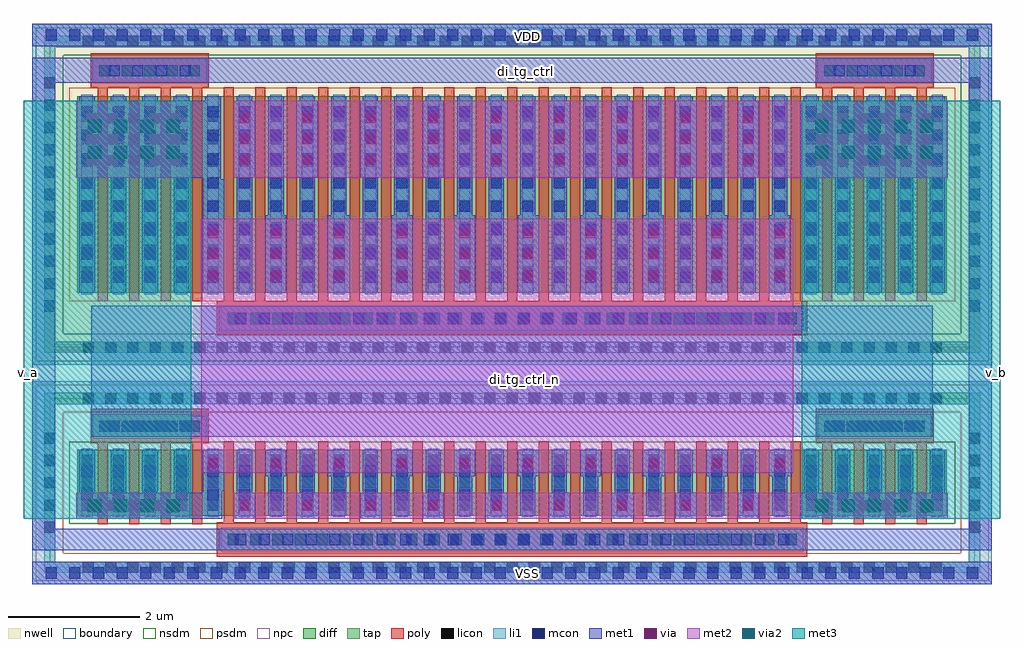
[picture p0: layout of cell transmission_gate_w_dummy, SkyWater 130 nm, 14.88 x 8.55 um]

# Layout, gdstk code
import gdstk
lib = gdstk.Library(unit=1e-6, precision=1e-09)
def R(c, l, rs):  # rectangles x0, y0, x1, y1
    for r in rs: c.add(gdstk.rectangle(r[:2], r[2:], *l))
def A(c, l, x, y, w, h, nx, ny, dx, dy):  # array of equal rectangles
    R(c, l, [(x+i*dx, y+j*dy, x+i*dx+w, y+j*dy+h) for i in range(nx) for j in range(ny)])
nwell = (64, 20)
diff = (65, 20)
tap = (65, 44)
poly = (66, 20)
licon = (66, 44)
li1 = (67, 20)
mcon = (67, 44)
met1 = (68, 20)
via = (68, 44)
met2 = (69, 20)
via2 = (69, 44)
met3 = (70, 20)
nsdm = (93, 44)
psdm = (94, 20)
npc = (95, 20)
boundary = (235, 4)

sky130_fd_pr__pfet_01v8_ = lib.new_cell('sky130_fd_pr__pfet_01v8_3HM6GL')
R(sky130_fd_pr__pfet_01v8_, nwell, [(-7.315,-2.595,7.315,2.595)])
R(sky130_fd_pr__pfet_01v8_, diff, [(-6.625,-1.5,6.625,1.5)])
R(sky130_fd_pr__pfet_01v8_, tap, [(-7.135,-2.415,7.135,-2.245), (-7.135,-2.245,-6.965,2.245), (6.965,-2.245,7.135,2.245), (-7.135,2.245,7.135,2.415)])
A(sky130_fd_pr__pfet_01v8_, poly, -6.315, -1.63, 0.15, 3.255, 4, 1, 0.48, 0)
A(sky130_fd_pr__pfet_01v8_, poly, 4.725, -1.63, 0.15, 3.255, 4, 1, 0.48, 0)
A(sky130_fd_pr__pfet_01v8_, poly, -4.395, -1.625, 0.15, 3.255, 19, 1, 0.48, 0)
R(sky130_fd_pr__pfet_01v8_, poly, [(-4.5,-2.15,4.5,-1.625), (-6.425,1.625,-4.625,2.15), (4.625,1.625,6.425,2.15)])
A(sky130_fd_pr__pfet_01v8_, licon, -6.545, -2.415, 0.17, 0.17, 39, 2, 0.34, 4.66)
A(sky130_fd_pr__pfet_01v8_, licon, -4.335, -1.975, 0.17, 0.17, 26, 1, 0.34, 0)
A(sky130_fd_pr__pfet_01v8_, licon, -7.135, -1.785, 0.17, 0.17, 1, 11, 0, 0.34)
A(sky130_fd_pr__pfet_01v8_, licon, 6.965, -1.785, 0.17, 0.17, 1, 11, 0, 0.34)
A(sky130_fd_pr__pfet_01v8_, licon, -6.565, -1.275, 0.17, 0.17, 28, 8, 0.48, 0.34)
A(sky130_fd_pr__pfet_01v8_, licon, -6.29, 1.8, 0.17, 0.17, 5, 1, 0.34, 0)
A(sky130_fd_pr__pfet_01v8_, licon, 4.76, 1.8, 0.17, 0.17, 5, 1, 0.34, 0)
A(sky130_fd_pr__pfet_01v8_, li1, -6.565, -1.52, 0.17, 3.04, 28, 1, 0.48, 0)
R(sky130_fd_pr__pfet_01v8_, li1, [(-7.135,-2.415,7.135,-2.245), (-7.135,-2.245,-6.965,2.245), (6.965,-2.245,7.135,2.245), (-4.475,-2.075,4.475,-1.7), (-6.4,1.7,-4.65,2.075), (4.65,1.7,6.4,2.075), (-7.135,2.245,7.135,2.415)])
A(sky130_fd_pr__pfet_01v8_, mcon, -4.225, -1.975, 0.17, 0.17, 24, 1, 0.36, 0)
A(sky130_fd_pr__pfet_01v8_, mcon, -6.565, -1.345, 0.17, 0.17, 28, 8, 0.48, 0.36)
A(sky130_fd_pr__pfet_01v8_, mcon, -6.15, 1.8, 0.17, 0.17, 4, 1, 0.36, 0)
A(sky130_fd_pr__pfet_01v8_, mcon, 4.9, 1.8, 0.17, 0.17, 4, 1, 0.36, 0)
A(sky130_fd_pr__pfet_01v8_, met1, -6.595, -1.5, 0.23, 3, 28, 1, 0.48, 0)
R(sky130_fd_pr__pfet_01v8_, met1, [(-4.475,-2.075,4.475,-1.7), (-6.4,1.7,-4.65,2.075), (4.65,1.7,6.4,2.075)])
R(sky130_fd_pr__pfet_01v8_, nsdm, [(-7.26,-2.54,7.26,-2.12), (-7.26,-2.12,-6.84,2.12), (6.84,-2.12,7.26,2.12), (-7.26,2.12,7.26,2.54)])
R(sky130_fd_pr__pfet_01v8_, psdm, [(-6.75,-1.625,6.75,1.625)])
R(sky130_fd_pr__pfet_01v8_, npc, [(-4.435,-2.075,4.435,-1.705), (-6.39,1.7,-4.66,2.07), (4.66,1.7,6.39,2.07)])
R(sky130_fd_pr__pfet_01v8_, boundary, [(-7.05,-2.33,7.05,2.33)])
sky130_fd_pr__pfet_01v8_.add(gdstk.Label('B', (0,-2.33), layer=67, texttype=5))
sky130_fd_pr__pfet_01v8_.add(gdstk.Label('D0', (-6.48,0), layer=67, texttype=5))
sky130_fd_pr__pfet_01v8_.add(gdstk.Label('S1', (-6,0), layer=67, texttype=5))
sky130_fd_pr__pfet_01v8_.add(gdstk.Label('D2', (-5.52,0), layer=67, texttype=5))
sky130_fd_pr__pfet_01v8_.add(gdstk.Label('S3', (-5.04,0), layer=67, texttype=5))
sky130_fd_pr__pfet_01v8_.add(gdstk.Label('D4', (-4.56,0), layer=67, texttype=5))
sky130_fd_pr__pfet_01v8_.add(gdstk.Label('G4', (-4.32,-1.82), layer=67, texttype=5))
sky130_fd_pr__pfet_01v8_.add(gdstk.Label('S5', (-4.08,0), layer=67, texttype=5))
sky130_fd_pr__pfet_01v8_.add(gdstk.Label('D6', (-3.6,0), layer=67, texttype=5))
sky130_fd_pr__pfet_01v8_.add(gdstk.Label('G6', (-3.36,-1.82), layer=67, texttype=5))
sky130_fd_pr__pfet_01v8_.add(gdstk.Label('S7', (-3.12,0), layer=67, texttype=5))
sky130_fd_pr__pfet_01v8_.add(gdstk.Label('D8', (-2.64,0), layer=67, texttype=5))
sky130_fd_pr__pfet_01v8_.add(gdstk.Label('G8', (-2.4,-1.82), layer=67, texttype=5))
sky130_fd_pr__pfet_01v8_.add(gdstk.Label('S9', (-2.16,0), layer=67, texttype=5))
sky130_fd_pr__pfet_01v8_.add(gdstk.Label('D10', (-1.68,0), layer=67, texttype=5))
sky130_fd_pr__pfet_01v8_.add(gdstk.Label('G10', (-1.44,-1.82), layer=67, texttype=5))
sky130_fd_pr__pfet_01v8_.add(gdstk.Label('S11', (-1.2,0), layer=67, texttype=5))
sky130_fd_pr__pfet_01v8_.add(gdstk.Label('D12', (-0.72,0), layer=67, texttype=5))
sky130_fd_pr__pfet_01v8_.add(gdstk.Label('G12', (-0.48,-1.82), layer=67, texttype=5))
sky130_fd_pr__pfet_01v8_.add(gdstk.Label('S13', (-0.24,0), layer=67, texttype=5))
sky130_fd_pr__pfet_01v8_.add(gdstk.Label('D14', (0.24,0), layer=67, texttype=5))
sky130_fd_pr__pfet_01v8_.add(gdstk.Label('G14', (0.48,-1.82), layer=67, texttype=5))
sky130_fd_pr__pfet_01v8_.add(gdstk.Label('S15', (0.72,0), layer=67, texttype=5))
sky130_fd_pr__pfet_01v8_.add(gdstk.Label('D16', (1.2,0), layer=67, texttype=5))
sky130_fd_pr__pfet_01v8_.add(gdstk.Label('G16', (1.44,-1.82), layer=67, texttype=5))
sky130_fd_pr__pfet_01v8_.add(gdstk.Label('S17', (1.68,0), layer=67, texttype=5))
sky130_fd_pr__pfet_01v8_.add(gdstk.Label('D18', (2.16,0), layer=67, texttype=5))
sky130_fd_pr__pfet_01v8_.add(gdstk.Label('G18', (2.4,-1.82), layer=67, texttype=5))
sky130_fd_pr__pfet_01v8_.add(gdstk.Label('S19', (2.64,0), layer=67, texttype=5))
sky130_fd_pr__pfet_01v8_.add(gdstk.Label('D20', (3.12,0), layer=67, texttype=5))
sky130_fd_pr__pfet_01v8_.add(gdstk.Label('G20', (3.36,-1.82), layer=67, texttype=5))
sky130_fd_pr__pfet_01v8_.add(gdstk.Label('S21', (3.6,0), layer=67, texttype=5))
sky130_fd_pr__pfet_01v8_.add(gdstk.Label('D22', (4.08,0), layer=67, texttype=5))
sky130_fd_pr__pfet_01v8_.add(gdstk.Label('G22', (4.32,-1.82), layer=67, texttype=5))
sky130_fd_pr__pfet_01v8_.add(gdstk.Label('S23', (4.56,0), layer=67, texttype=5))
sky130_fd_pr__pfet_01v8_.add(gdstk.Label('G23', (4.8,1.82), layer=67, texttype=5))
sky130_fd_pr__pfet_01v8_.add(gdstk.Label('D24', (5.04,0), layer=67, texttype=5))
sky130_fd_pr__pfet_01v8_.add(gdstk.Label('S25', (5.52,0), layer=67, texttype=5))
sky130_fd_pr__pfet_01v8_.add(gdstk.Label('G25', (5.76,1.82), layer=67, texttype=5))
sky130_fd_pr__pfet_01v8_.add(gdstk.Label('D26', (6,0), layer=67, texttype=5))
sky130_fd_pr__pfet_01v8_.add(gdstk.Label('S26', (6.48,0), layer=67, texttype=5))

sky130_fd_pr__nfet_01v8_ = lib.new_cell('sky130_fd_pr__nfet_01v8_98DYX6')
R(sky130_fd_pr__nfet_01v8_, diff, [(-6.625,-0.5,6.625,0.5)])
R(sky130_fd_pr__nfet_01v8_, tap, [(-7.135,-1.37,7.135,-1.2), (-7.135,-1.2,-6.965,1.2), (6.965,-1.2,7.135,1.2), (-7.135,1.2,7.135,1.37)])
A(sky130_fd_pr__nfet_01v8_, poly, -6.315, -0.63, 0.15, 1.23, 4, 1, 0.48, 0)
A(sky130_fd_pr__nfet_01v8_, poly, 4.725, -0.63, 0.15, 1.23, 4, 1, 0.48, 0)
A(sky130_fd_pr__nfet_01v8_, poly, -4.395, -0.6, 0.15, 1.23, 19, 1, 0.48, 0)
R(sky130_fd_pr__nfet_01v8_, poly, [(-4.5,-1.125,4.5,-0.6), (-6.425,0.6,-4.625,1.125), (4.625,0.6,6.425,1.125)])
A(sky130_fd_pr__nfet_01v8_, licon, -6.545, -1.37, 0.17, 0.17, 39, 2, 0.34, 2.57)
A(sky130_fd_pr__nfet_01v8_, licon, -4.335, -0.95, 0.17, 0.17, 26, 1, 0.34, 0)
A(sky130_fd_pr__nfet_01v8_, licon, -7.135, -0.765, 0.17, 0.17, 1, 5, 0, 0.34)
A(sky130_fd_pr__nfet_01v8_, licon, 6.965, -0.765, 0.17, 0.17, 1, 5, 0, 0.34)
A(sky130_fd_pr__nfet_01v8_, licon, -6.565, -0.425, 0.17, 0.17, 28, 3, 0.48, 0.34)
A(sky130_fd_pr__nfet_01v8_, licon, -6.29, 0.775, 0.17, 0.17, 5, 1, 0.34, 0)
A(sky130_fd_pr__nfet_01v8_, licon, 4.76, 0.775, 0.17, 0.17, 5, 1, 0.34, 0)
A(sky130_fd_pr__nfet_01v8_, li1, -6.565, -0.52, 0.17, 1.04, 28, 1, 0.48, 0)
R(sky130_fd_pr__nfet_01v8_, li1, [(-7.135,-1.37,7.135,-1.2), (-7.135,-1.2,-6.965,1.2), (6.965,-1.2,7.135,1.2), (-4.475,-1.025,4.475,-0.7), (-6.4,0.7,-4.65,1.025), (4.65,0.7,6.4,1.025), (-7.135,1.2,7.135,1.37)])
A(sky130_fd_pr__nfet_01v8_, mcon, -4.225, -0.95, 0.17, 0.17, 24, 1, 0.36, 0)
A(sky130_fd_pr__nfet_01v8_, mcon, -6.565, -0.265, 0.17, 0.17, 28, 2, 0.48, 0.36)
A(sky130_fd_pr__nfet_01v8_, mcon, -6.15, 0.775, 0.17, 0.17, 4, 1, 0.36, 0)
A(sky130_fd_pr__nfet_01v8_, mcon, 4.9, 0.775, 0.17, 0.17, 4, 1, 0.36, 0)
A(sky130_fd_pr__nfet_01v8_, met1, -6.595, -0.5, 0.23, 1, 28, 1, 0.48, 0)
R(sky130_fd_pr__nfet_01v8_, met1, [(-4.475,-1.025,4.475,-0.7), (-6.4,0.7,-4.65,1.025), (4.65,0.7,6.4,1.025)])
R(sky130_fd_pr__nfet_01v8_, nsdm, [(-6.75,-0.625,6.75,0.625)])
R(sky130_fd_pr__nfet_01v8_, psdm, [(-7.26,-1.495,7.26,-1.075), (-7.26,-1.075,-6.84,1.075), (6.84,-1.075,7.26,1.075), (-7.26,1.075,7.26,1.495)])
R(sky130_fd_pr__nfet_01v8_, npc, [(-4.435,-1.05,4.435,-0.68), (-6.39,0.675,-4.66,1.045), (4.66,0.675,6.39,1.045)])
R(sky130_fd_pr__nfet_01v8_, boundary, [(-7.05,-1.285,7.05,1.285)])
sky130_fd_pr__nfet_01v8_.add(gdstk.Label('B', (0,-1.285), layer=67, texttype=5))
sky130_fd_pr__nfet_01v8_.add(gdstk.Label('D0', (-6.48,0), layer=67, texttype=5))
sky130_fd_pr__nfet_01v8_.add(gdstk.Label('S1', (-6,0), layer=67, texttype=5))
sky130_fd_pr__nfet_01v8_.add(gdstk.Label('G1', (-5.76,0.775), layer=66, texttype=5))
sky130_fd_pr__nfet_01v8_.add(gdstk.Label('D2', (-5.52,0), layer=67, texttype=5))
sky130_fd_pr__nfet_01v8_.add(gdstk.Label('S3', (-5.04,0), layer=67, texttype=5))
sky130_fd_pr__nfet_01v8_.add(gdstk.Label('G3', (-4.8,0.775), layer=66, texttype=5))
sky130_fd_pr__nfet_01v8_.add(gdstk.Label('D4', (-4.56,0), layer=67, texttype=5))
sky130_fd_pr__nfet_01v8_.add(gdstk.Label('G4', (-4.32,-0.775), layer=66, texttype=5))
sky130_fd_pr__nfet_01v8_.add(gdstk.Label('S5', (-4.08,0), layer=67, texttype=5))
sky130_fd_pr__nfet_01v8_.add(gdstk.Label('D6', (-3.6,0), layer=67, texttype=5))
sky130_fd_pr__nfet_01v8_.add(gdstk.Label('G6', (-3.36,-0.775), layer=66, texttype=5))
sky130_fd_pr__nfet_01v8_.add(gdstk.Label('S7', (-3.12,0), layer=67, texttype=5))
sky130_fd_pr__nfet_01v8_.add(gdstk.Label('D8', (-2.64,0), layer=67, texttype=5))
sky130_fd_pr__nfet_01v8_.add(gdstk.Label('G8', (-2.4,-0.775), layer=66, texttype=5))
sky130_fd_pr__nfet_01v8_.add(gdstk.Label('S9', (-2.16,0), layer=67, texttype=5))
sky130_fd_pr__nfet_01v8_.add(gdstk.Label('D10', (-1.68,0), layer=67, texttype=5))
sky130_fd_pr__nfet_01v8_.add(gdstk.Label('G10', (-1.44,-0.775), layer=66, texttype=5))
sky130_fd_pr__nfet_01v8_.add(gdstk.Label('S11', (-1.2,0), layer=67, texttype=5))
sky130_fd_pr__nfet_01v8_.add(gdstk.Label('D12', (-0.72,0), layer=67, texttype=5))
sky130_fd_pr__nfet_01v8_.add(gdstk.Label('G12', (-0.48,-0.775), layer=66, texttype=5))
sky130_fd_pr__nfet_01v8_.add(gdstk.Label('S13', (-0.24,0), layer=67, texttype=5))
sky130_fd_pr__nfet_01v8_.add(gdstk.Label('D14', (0.24,0), layer=67, texttype=5))
sky130_fd_pr__nfet_01v8_.add(gdstk.Label('G14', (0.48,-0.775), layer=66, texttype=5))
sky130_fd_pr__nfet_01v8_.add(gdstk.Label('S15', (0.72,0), layer=67, texttype=5))
sky130_fd_pr__nfet_01v8_.add(gdstk.Label('D16', (1.2,0), layer=67, texttype=5))
sky130_fd_pr__nfet_01v8_.add(gdstk.Label('G16', (1.44,-0.775), layer=66, texttype=5))
sky130_fd_pr__nfet_01v8_.add(gdstk.Label('S17', (1.68,0), layer=67, texttype=5))
sky130_fd_pr__nfet_01v8_.add(gdstk.Label('D18', (2.16,0), layer=67, texttype=5))
sky130_fd_pr__nfet_01v8_.add(gdstk.Label('G18', (2.4,-0.775), layer=66, texttype=5))
sky130_fd_pr__nfet_01v8_.add(gdstk.Label('S19', (2.64,0), layer=67, texttype=5))
sky130_fd_pr__nfet_01v8_.add(gdstk.Label('D20', (3.12,0), layer=67, texttype=5))
sky130_fd_pr__nfet_01v8_.add(gdstk.Label('G20', (3.36,-0.775), layer=66, texttype=5))
sky130_fd_pr__nfet_01v8_.add(gdstk.Label('S21', (3.6,0), layer=67, texttype=5))
sky130_fd_pr__nfet_01v8_.add(gdstk.Label('D22', (4.08,0), layer=67, texttype=5))
sky130_fd_pr__nfet_01v8_.add(gdstk.Label('G22', (4.32,-0.775), layer=66, texttype=5))
sky130_fd_pr__nfet_01v8_.add(gdstk.Label('S23', (4.56,0), layer=67, texttype=5))
sky130_fd_pr__nfet_01v8_.add(gdstk.Label('G23', (4.8,0.775), layer=66, texttype=5))
sky130_fd_pr__nfet_01v8_.add(gdstk.Label('D24', (5.04,0), layer=67, texttype=5))
sky130_fd_pr__nfet_01v8_.add(gdstk.Label('S25', (5.52,0), layer=67, texttype=5))
sky130_fd_pr__nfet_01v8_.add(gdstk.Label('G25', (5.76,0.775), layer=66, texttype=5))
sky130_fd_pr__nfet_01v8_.add(gdstk.Label('D26', (6,0), layer=67, texttype=5))
sky130_fd_pr__nfet_01v8_.add(gdstk.Label('S26', (6.48,0), layer=67, texttype=5))

transmission_gate_w_dumm = lib.new_cell('transmission_gate_w_dummy')
R(transmission_gate_w_dumm, li1, [(-0.075,-3.6,14.55,-3.25), (-0.075,-3.25,0.275,-0.85), (14.2,-3.25,14.55,-0.85), (-0.075,-0.85,14.55,-0.5), (-0.075,-0.25,14.55,0.1), (-0.075,0.1,0.275,4.675), (14.2,0.1,14.55,4.675), (-0.075,4.675,14.55,4.95)])
A(transmission_gate_w_dumm, mcon, 0.13, -3.51, 0.17, 0.17, 40, 2, 0.36, 8.2)
A(transmission_gate_w_dumm, met1, 5.875, -2.6, 0.325, 0.4, 3, 1, 1.925, 0)
A(transmission_gate_w_dumm, met1, 7.325, 0.85, 0.325, 1.175, 3, 1, 0.95, 0)
R(transmission_gate_w_dumm, met1, [(-0.075,-3.6,14.55,-3.25), (-0.075,-3.075,2.8,-2.75), (11.7,-3.075,14.55,-2.75), (-0.075,-2.75,0.275,4.05), (14.2,-2.75,14.55,4.05), (0.6,-2.6,2.825,-2.2), (3,-2.6,3.325,-2.2), (3.95,-2.6,4.3,-2.2), (4.925,-2.6,5.25,-2.2), (6.825,-2.6,7.175,-2.2), (8.75,-2.6,9.1,-2.2), (10.675,-2.6,11,-2.2), (11.625,-2.6,13.875,-2.2), (2.525,-2.2,2.825,-2.175), (2.525,-2.175,2.85,-1.55), (3.475,-1.95,3.8,-1.55), (4.425,-1.95,4.775,-1.55), (5.4,-1.95,5.725,-1.55), (6.35,-1.95,6.675,-1.55), (7.325,-1.95,7.65,-1.55), (8.275,-1.95,8.6,-1.55), (9.225,-1.95,9.575,-1.55), (10.2,-1.95,10.525,-1.55), (11.15,-1.95,11.5,-1.55), (0.825,-1.35,13.65,0.65), (2.525,0.85,2.85,2.025), (3.475,0.85,3.8,2.025), (4.425,0.85,4.775,2.025), (5.4,0.85,5.725,2.025), (6.35,0.85,6.675,2.025), (10.2,0.85,10.525,2.025), (11.15,0.85,11.475,2.025), (2.525,2.025,2.575,2.6), (2.775,2.025,2.85,2.575), (2.775,2.575,2.8,2.6), (0.6,2.6,2.8,3.775), (3,2.6,3.325,3.775), (3.95,2.6,4.275,3.775), (4.925,2.6,5.25,3.775), (5.875,2.6,6.2,3.775), (6.825,2.6,7.175,3.775), (7.8,2.6,8.125,3.775), (8.75,2.6,9.075,3.775), (9.725,2.6,10.05,3.775), (10.675,2.6,11,3.775), (11.625,2.6,13.875,3.775), (-0.075,4.05,14.55,4.425), (-0.075,4.6,14.55,4.95)])
A(transmission_gate_w_dumm, via, 0.76, -2.475, 0.15, 0.15, 5, 2, 0.32, 5.265)
A(transmission_gate_w_dumm, via, 6.935, -2.475, 0.15, 0.15, 3, 1, 0.95, 0)
A(transmission_gate_w_dumm, via, 11.885, -2.475, 0.15, 0.15, 6, 1, 0.32, 0)
A(transmission_gate_w_dumm, via, 2.61, 1.04, 0.15, 0.15, 1, 3, 0, 0.32)
A(transmission_gate_w_dumm, via, 3.56, 1.04, 0.15, 0.15, 1, 3, 0, 0.32)
A(transmission_gate_w_dumm, via, 4.525, 1.04, 0.15, 0.15, 1, 3, 0, 0.32)
A(transmission_gate_w_dumm, via, 5.485, 1.04, 0.15, 0.15, 1, 3, 0, 0.32)
A(transmission_gate_w_dumm, via, 6.435, 1.04, 0.15, 0.15, 1, 3, 0, 0.32)
A(transmission_gate_w_dumm, via, 7.41, 1.04, 0.15, 0.15, 3, 3, 0.95, 0.32)
A(transmission_gate_w_dumm, via, 10.285, 1.04, 0.15, 0.15, 1, 3, 0, 0.32)
A(transmission_gate_w_dumm, via, 11.25, 1.04, 0.15, 0.15, 1, 3, 0, 0.32)
A(transmission_gate_w_dumm, via, 3.085, 2.79, 0.15, 0.15, 1, 3, 0, 0.32)
A(transmission_gate_w_dumm, via, 4.035, 2.79, 0.15, 0.15, 1, 3, 0, 0.32)
A(transmission_gate_w_dumm, via, 5.01, 2.79, 0.15, 0.15, 1, 3, 0, 0.32)
A(transmission_gate_w_dumm, via, 5.96, 2.79, 0.15, 0.15, 1, 3, 0, 0.32)
A(transmission_gate_w_dumm, via, 6.925, 2.79, 0.15, 0.15, 1, 3, 0, 0.32)
A(transmission_gate_w_dumm, via, 7.885, 2.79, 0.15, 0.15, 1, 3, 0, 0.32)
A(transmission_gate_w_dumm, via, 8.835, 2.79, 0.15, 0.15, 1, 3, 0, 0.32)
A(transmission_gate_w_dumm, via, 9.81, 2.79, 0.15, 0.15, 1, 3, 0, 0.32)
A(transmission_gate_w_dumm, via, 10.76, 2.79, 0.15, 0.15, 1, 3, 0, 0.32)
A(transmission_gate_w_dumm, via, 11.875, 2.79, 0.15, 0.15, 6, 3, 0.32, 0.32)
A(transmission_gate_w_dumm, via, 0.76, 3.11, 0.15, 0.15, 5, 2, 0.32, 0.32)
R(transmission_gate_w_dumm, via, [(3.085,-2.475,3.235,-2.325), (4.035,-2.475,4.185,-2.325), (5.01,-2.475,5.16,-2.325), (5.96,-2.475,6.11,-2.325), (9.81,-2.475,9.96,-2.325), (10.76,-2.475,10.91,-2.325), (2.61,-1.825,2.76,-1.675), (3.56,-1.825,3.71,-1.675), (4.525,-1.825,4.675,-1.675), (5.485,-1.825,5.635,-1.675), (6.435,-1.825,6.585,-1.675), (7.41,-1.825,7.56,-1.675), (8.36,-1.825,8.51,-1.675), (9.325,-1.825,9.475,-1.675), (10.285,-1.825,10.435,-1.675), (11.25,-1.825,11.4,-1.675)])
R(transmission_gate_w_dumm, met2, [(0.6,-2.6,2.325,-2.2), (3,-2.6,13.875,-2.2), (2.5,-1.9,11.525,1.975), (0.6,2.6,2.35,3.775), (3,2.6,13.875,3.775)])
A(transmission_gate_w_dumm, via2, 0.775, -2.5, 0.2, 0.2, 4, 2, 0.4, 5.385)
A(transmission_gate_w_dumm, via2, 11.86, -2.5, 0.2, 0.2, 5, 2, 0.4, 5.385)
A(transmission_gate_w_dumm, via2, 0.775, 3.285, 0.2, 0.2, 4, 1, 0.4, 0)
A(transmission_gate_w_dumm, via2, 11.86, 3.285, 0.2, 0.2, 5, 1, 0.4, 0)
R(transmission_gate_w_dumm, met3, [(-0.2,-2.6,2.35,3.775), (11.65,-2.6,14.675,3.775)])
transmission_gate_w_dumm.add(gdstk.Reference(sky130_fd_pr__pfet_01v8_, (7.24,2.345)))
transmission_gate_w_dumm.add(gdstk.Reference(sky130_fd_pr__nfet_01v8_, (7.24,-2.05)))
transmission_gate_w_dumm.add(gdstk.Label('VDD', (7.475,4.75), layer=68, texttype=5))
transmission_gate_w_dumm.add(gdstk.Label('di_tg_ctrl_n', (7.425,-0.475), layer=68, texttype=5))
transmission_gate_w_dumm.add(gdstk.Label('VSS', (7.475,-3.425), layer=68, texttype=5))
transmission_gate_w_dumm.add(gdstk.Label('di_tg_ctrl', (7.45,4.225), layer=68, texttype=5))
transmission_gate_w_dumm.add(gdstk.Label('v_a', (-0.15,-0.375), layer=70, texttype=5))
transmission_gate_w_dumm.add(gdstk.Label('v_b', (14.625,-0.375), layer=70, texttype=5))

lib.write_gds('transmission_gate_w_dummy.gds')
